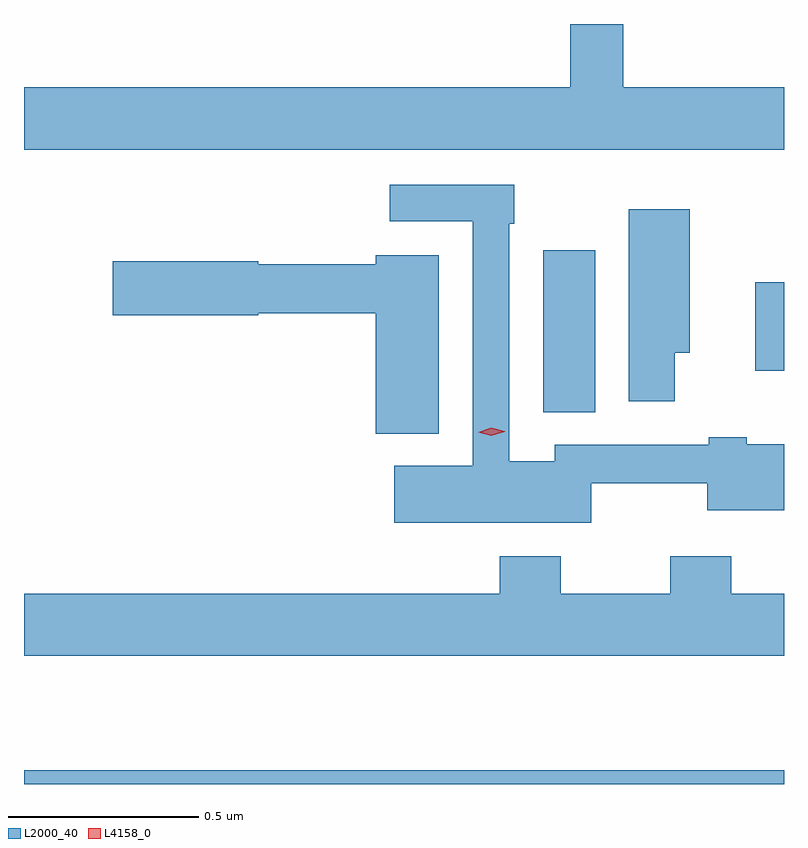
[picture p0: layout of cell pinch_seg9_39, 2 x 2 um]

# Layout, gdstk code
import gdstk
lib = gdstk.Library(unit=1e-6, precision=1e-09)
def R(c, l, rs):  # rectangles x0, y0, x1, y1
    for r in rs: c.add(gdstk.rectangle(r[:2], r[2:], *l))
def P(c, l, *ps):  # polygons
    for p in ps: c.add(gdstk.Polygon(p, *l))
L2000_40 = (2000, 40)
L4158_0 = (4158, 0)

pinch_seg9_39 = lib.new_cell('pinch_seg9_39')
R(pinch_seg9_39, L2000_40, [(1008.259,1218.727,1010.259,1218.763), (1009.625,1219.705,1009.762,1220.131), (1010.183,1219.814,1010.259,1220.047)])
P(pinch_seg9_39, L2000_40, [(1010.259,1220.56),(1009.836,1220.56),(1009.836,1220.727),(1009.697,1220.727),(1009.697,1220.56),(1008.259,1220.56),(1008.259,1220.396),(1010.259,1220.396)],
  [(1009.752,1219.519),(1010.057,1219.519),(1010.057,1219.448),(1010.259,1219.448),(1010.259,1219.621),(1010.161,1219.621),(1010.161,1219.64),(1010.061,1219.64),(1010.061,1219.62),(1009.656,1219.62),(1009.656,1219.576),(1009.536,1219.576),(1009.536,1220.201),(1009.549,1220.201),(1009.549,1220.304),(1009.221,1220.304),(1009.221,1220.208),(1009.44,1220.208),(1009.44,1219.564),(1009.233,1219.564),(1009.233,1219.415),(1009.752,1219.415)],
  [(1009.972,1219.862),(1010.011,1219.862),(1010.011,1220.239),(1009.85,1220.239),(1009.85,1219.734),(1009.972,1219.734)],
  [(1009.351,1220.119),(1009.184,1220.119),(1009.184,1220.095),(1008.876,1220.095),(1008.876,1220.103),(1008.492,1220.103),(1008.492,1219.961),(1008.876,1219.961),(1008.876,1219.966),(1009.184,1219.966),(1009.184,1219.649),(1009.351,1219.649)],
  [(1010.259,1219.228),(1010.12,1219.228),(1010.12,1219.327),(1009.96,1219.327),(1009.96,1219.228),(1009.671,1219.228),(1009.671,1219.327),(1009.511,1219.327),(1009.511,1219.228),(1008.259,1219.228),(1008.259,1219.064),(1010.259,1219.064)])
P(pinch_seg9_39, L4158_0, [(1009.489,1219.644),(1009.454,1219.653),(1009.454,1219.653),(1009.454,1219.653),(1009.489,1219.664),(1009.524,1219.655),(1009.524,1219.654),(1009.524,1219.654)])

lib.write_gds('pinch_seg9_39.gds')
